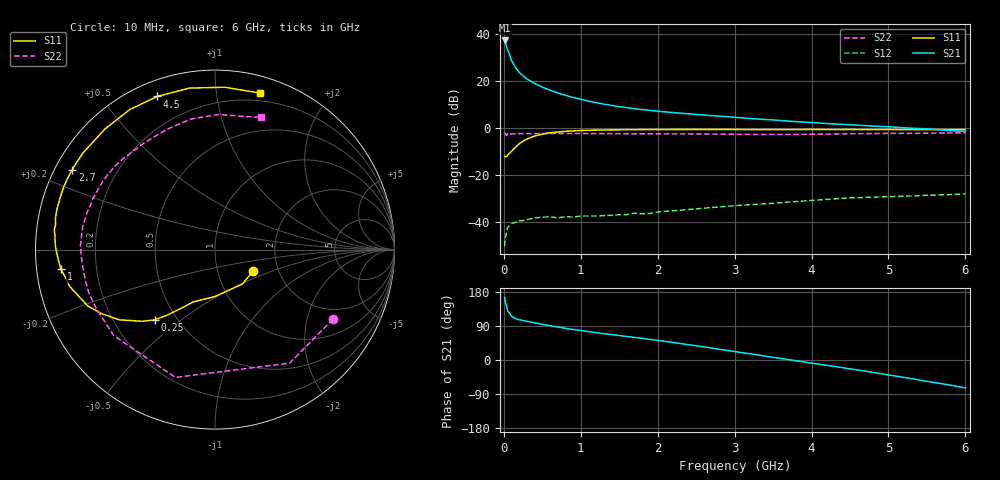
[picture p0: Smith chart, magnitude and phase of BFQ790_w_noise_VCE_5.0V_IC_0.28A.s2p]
! Infineon Technologies  Discrete & RF Semiconductors
! BFQ790
! VCE =  5.0 V,  IC = 0.28 A
! Common Emitter S-Parameters:  May 2015
# GHz  S  MA  R  50
!  f  S11  S21  S12  S22
! GHz  MAG  ANG  MAG  ANG  MAG  ANG  MAG  ANG
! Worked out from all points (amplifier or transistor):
!   77 points, 10 MHz to 6 GHz, reference 50 ohm
!   highest |S21| = 37.1 dB at 10 MHz (marker M1)
!   |S21| within 3 dB of that: start of sweep to 39.52 MHz
!   unconditionally stable (mu >= 1): start of sweep to 10.14 MHz; 186 MHz to end of sweep
!   at 130 MHz: K = 0.88, MSG = 33.7 dB, |S12| = -40.5 dB
!   at 2.2 GHz: K = 1.34, MAG = 17.4 dB, |S12| = -35.4 dB
!   at 6 GHz: K = 1.13, MAG = 11.1 dB, |S12| = -28.2 dB
!   lowest NFmin = 3.93 dB at 1.5 GHz
!   S11 on the Smith chart (normalised r, x): 10 MHz: 1.48, -0.38; 250 MHz: 0.38, -0.40; 1 GHz: 0.07, -0.06; 2.7 GHz: 0.05, +0.26; 4.5 GHz: 0.07, +0.69; 6 GHz: 0.13, +1.32
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0.01  0.2439 -29.3  71.25 165.3  0.003 51.0  0.7634 -30.5
0.02  0.2451 -51.5  64.88 152.4  0.0044 54.9  0.7569 -56.7
0.05  0.2621 -90.5  44.33 128.8  0.0075 35.6  0.7453 -107.2
0.1  0.3159 -112.6  26.54 114.6  0.0091 21.0  0.7402 -139.7
0.15  0.3822 -120.5  18.93 109.3  0.0096 23.1  0.7387 -153.7
0.2  0.4518 -126.1  14.96 106.3  0.0105 20.5  0.7433 -161.1
0.25  0.5164 -130.7  12.51 104.1  0.0105 18.8  0.7423 -166.0
0.3  0.569 -135.4  10.8 102.1  0.011 17.9  0.7421 -169.7
0.4  0.6613 -143.7  8.659 98.0  0.012 17.3  0.7443 -174.7
0.5  0.7256 -150.5  7.235 94.2  0.0124 11.8  0.7465 -178.5
0.7  0.8043 -161.4  5.448 87.0  0.012 15.8  0.749 176.0
0.9  0.8493 -169.7  4.372 80.5  0.0125 12.0  0.7474 172.2
1  0.8656 -172.8  4.001 77.8  0.0131 11.9  0.748 170.3
1.1  0.8747 -176.2  3.66 74.9  0.0131 11.4  0.7465 168.7
1.5  0.8956 174.7  2.791 64.5  0.014 14.4  0.7408 162.9
2.1  0.9089 163.5  2.155 49.1  0.0165 15.0  0.7335 154.1
2.7  0.9109 150.8  1.794 31.6  0.0199 11.8  0.7265 142.5
3.1  0.9084 141.5  1.607 19.4  0.0223 6.8  0.7169 133.4
4.1  0.9107 119.2  1.247 -11.1  0.0289 -7.3  0.7226 109.8
4.5  0.9119 110.6  1.151 -23.4  0.032 -15.2  0.7397 100.4
5.1  0.9067 96.5  1.016 -42.6  0.0342 -27.5  0.7522 86.5
6  0.9075 73.8  0.829 -73.7  0.0389 -48.0  0.7796 70.9
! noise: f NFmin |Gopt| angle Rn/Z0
0.45  6.54  0.52  144  0.63
0.9  4.59  0.65  170  0.19
1.5  3.93  0.74  -171  0.11
1.8  3.97  0.75  -166  0.13
2.6  4.12  0.77  -151  0.34
3.5  4.55  0.85  -134  0.75
